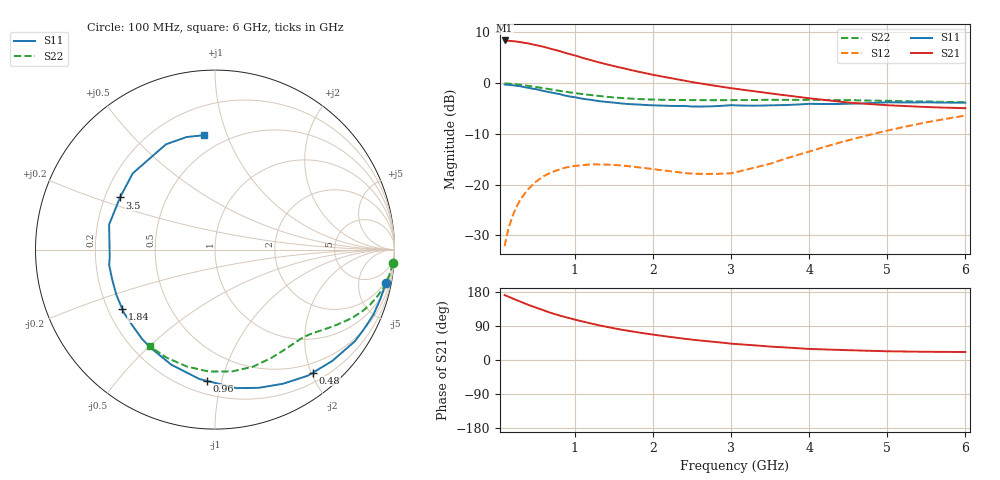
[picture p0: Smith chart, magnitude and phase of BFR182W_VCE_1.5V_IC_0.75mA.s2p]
! Infineon Technologies  Discrete & RF Semiconductors
! BFR182W
! VCE =  1.5 V,  IC = 0.75 mA
! Common Emitter S-Parameters:  Nov 2015
# GHz  S  MA  R  50
!  f  S11  S21  S12  S22
! GHz  MAG  ANG  MAG  ANG  MAG  ANG  MAG  ANG
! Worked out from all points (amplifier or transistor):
!   192 points, 100 MHz to 6 GHz, reference 50 ohm
!   highest |S21| = 8.4 dB at 100 MHz (marker M1)
!   |S21| within 3 dB of that: start of sweep to 1.01 GHz
!   unconditionally stable (mu >= 1): 2.235 GHz to 3.5 GHz
!   at 440 MHz: K = 0.19, MSG = 14.0 dB, |S12| = -20.3 dB
!   at 1.7 GHz: K = 0.75, MSG = 9.5 dB, |S12| = -16.4 dB
!   at 6 GHz: K = 0.87, MSG = 0.7 dB, |S12| = -6.4 dB
!   S11 on the Smith chart (normalised r, x): 100 MHz: 2, -10; 480 MHz: 0.34, -2.03; 960 MHz: 0.28, -0.90; 1.84 GHz: 0.26, -0.27; 3.5 GHz: 0.26, +0.24; 6 GHz: 0.38, +0.83
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0.1  0.9697 -11.2  2.632 171.4  0.0247 83.0  0.9926 -4.4
0.16  0.9591 -18.0  2.608 166.1  0.0391 78.8  0.9868 -6.9
0.26  0.939 -28.9  2.565 157.5  0.0621 72.2  0.9707 -11.0
0.4  0.901 -43.5  2.465 145.8  0.0897 64.0  0.9402 -16.2
0.48  0.8761 -51.5  2.389 139.7  0.1031 59.1  0.9206 -19.0
0.6  0.8377 -63.2  2.279 130.8  0.121 53.1  0.8897 -22.7
0.7  0.8079 -72.4  2.173 123.7  0.1322 48.5  0.8648 -25.3
0.8  0.7811 -81.2  2.072 117.4  0.141 44.4  0.8398 -27.7
0.96  0.7326 -93.7  1.907 108.5  0.1507 38.7  0.8048 -30.9
1.1  0.7007 -103.7  1.773 101.5  0.1552 34.6  0.7788 -33.5
1.2  0.6857 -110.9  1.686 96.2  0.1581 31.9  0.7618 -35.3
1.42  0.6509 -124.8  1.524 86.8  0.1572 27.7  0.7313 -38.6
1.6  0.6294 -135.1  1.411 79.8  0.1543 25.7  0.7128 -41.1
1.84  0.6133 -147.5  1.282 71.8  0.1473 24.9  0.6949 -44.5
2.08  0.5998 -158.8  1.174 64.7  0.1394 25.9  0.6856 -48.0
2.5  0.5881 -175.9  1.023 53.5  0.1281 32.7  0.6799 -54.0
3.1  0.6022 163.6  0.87 41.7  0.1346 51.8  0.6798 -64.4
3.5  0.6036 151.2  0.791 35.4  0.1602 62.7  0.6858 -71.9
4.1  0.6228 134.8  0.696 28.6  0.2234 68.7  0.6825 -84.1
4.5  0.6253 125.2  0.643 25.8  0.2724 68.7  0.6805 -92.9
5.1  0.6452 112.8  0.6 22.7  0.354 64.8  0.6662 -105.6
6  0.6404 95.7  0.566 21.1  0.479 55.3  0.6502 -123.9
